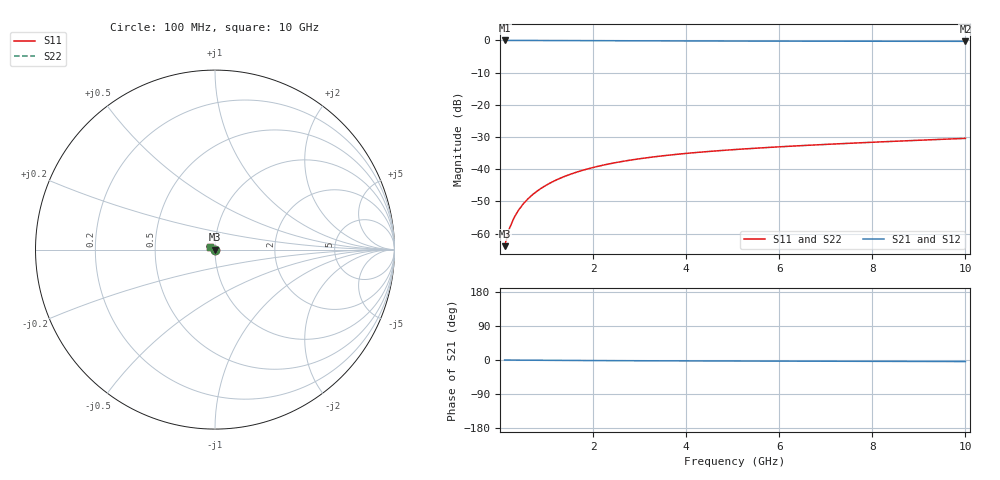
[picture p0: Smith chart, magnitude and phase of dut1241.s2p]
! Touchstone file exported from HFSS 2024.1.0
!  File:  C:/UserFiles/LocalFiles/RDL_TSV_Batchsim/temp_TSV1_1241_1780251331.aedt
!  Generated:  02:25:27 AM Jun  1, 2026
!  Design:  TSV1
!  Project:  temp_TSV1_1241_1780251331
!  Setup:  Setup1
!  Solution:  Sweep
! Variables:
!  dtsv = 6.59um
!  hbump = 3um
!  htsv = 59.25um
!  lrdl = 252.1521522um
!  p = 40
!  p1 = 47.24um
!  t = 500um
!  trdl = 3um
!  wrdl = 24.89489489um
# GHz S MA R 50.000000
! Terminal data exported
! Port[1] = TSV22_T1
! Port[2] = TSV22_T2
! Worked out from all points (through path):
!   100 points, 100 MHz to 10 GHz, reference 50 ohm
!   highest |S21| = 0.00 dB at 100 MHz (marker M1); lowest = -0.3 dB at 10 GHz (marker M2)
!   lowest |S11| = -63.9 dB at 100 MHz (marker M3), VSWR 1.00, Z = 50 - j0.0587 ohm
!   |S11| at or under -10 dB: start of sweep to end of sweep
!   |S22| runs from -63.9 to -30.4 dB; largest |S21 - S12| = 5.1e-15
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0.1  0.0006398 -66.6  0.9997 -0.1  0.9997 -0.1  0.0006398 -66.6
! Gamma 0 0 0 0
! Port Impedance 50 0 50 0
0.2  0.001187 -80.9  0.9996 -0.2  0.9996 -0.2  0.001187 -80.9
0.3  0.001753 -87.4  0.9995 -0.3  0.9995 -0.3  0.001753 -87.4
0.4  0.002324 -91.8  0.9993 -0.3  0.9993 -0.3  0.002324 -91.8
0.5  0.002896 -95.2  0.9991 -0.4  0.9991 -0.4  0.002896 -95.2
0.6  0.003466 -98.2  0.9989 -0.5  0.9989 -0.5  0.003466 -98.2
0.7  0.004032 -100.9  0.9986 -0.6  0.9986 -0.6  0.004032 -100.9
0.8  0.004593 -103.3  0.9983 -0.7  0.9983 -0.7  0.004593 -103.3
0.9  0.005148 -105.7  0.998 -0.7  0.998 -0.7  0.005148 -105.7
1.1  0.006235 -110.1  0.9972 -0.9  0.9972 -0.9  0.006235 -110.1
1.4  0.0078 -116.3  0.9959 -1.1  0.9959 -1.1  0.0078 -116.3
1.6  0.008792 -120.1  0.9949 -1.2  0.9949 -1.2  0.008792 -120.1
1.8  0.009743 -123.9  0.9938 -1.3  0.9938 -1.3  0.009743 -123.9
2.1  0.01109 -129.2  0.9922 -1.5  0.9922 -1.5  0.01109 -129.2
2.5  0.01273 -135.9  0.9901 -1.7  0.9901 -1.7  0.01273 -135.9
2.9  0.01421 -142.2  0.9879 -1.9  0.9879 -1.9  0.01421 -142.2
3.4  0.01587 -149.3  0.9854 -2.1  0.9854 -2.1  0.01587 -149.3
4.2  0.01816 -159.6  0.9819 -2.4  0.9819 -2.4  0.01816 -159.6
5.1  0.02035 -169.4  0.9786 -2.7  0.9786 -2.7  0.02035 -169.4
6.7  0.02372 176.2  0.9745 -3.1  0.9745 -3.1  0.02372 176.2
8.4  0.02704 164.2  0.9715 -3.6  0.9715 -3.6  0.02704 164.2
10  0.03018 155.1  0.9695 -4.1  0.9695 -4.1  0.03018 155.1
